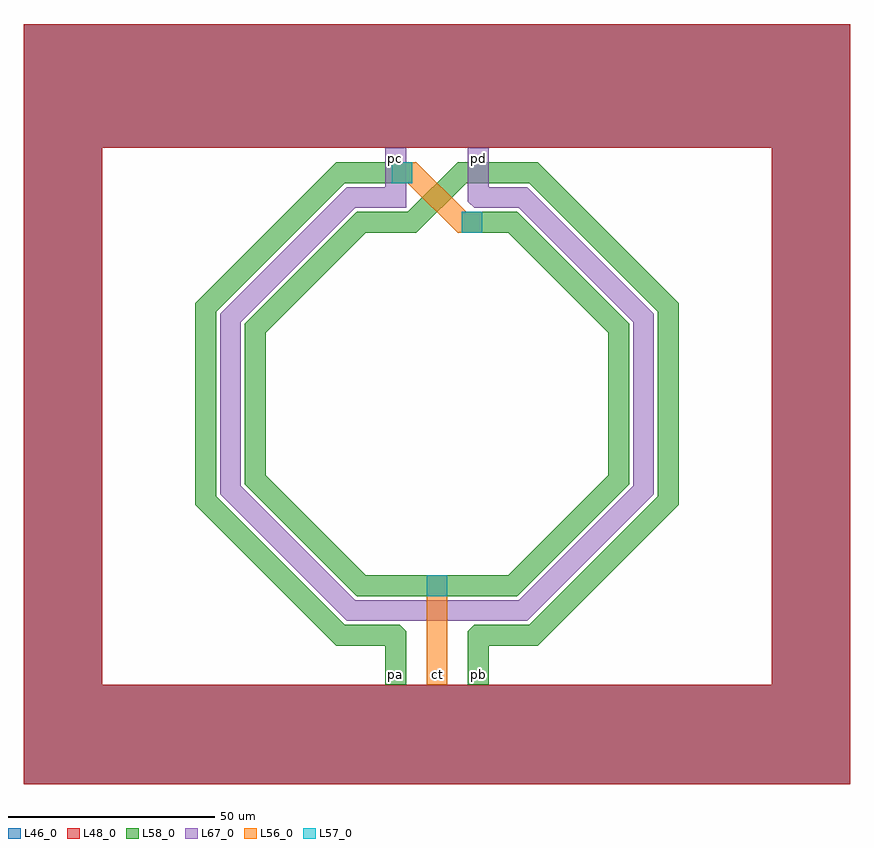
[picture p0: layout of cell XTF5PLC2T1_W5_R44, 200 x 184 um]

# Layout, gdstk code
import gdstk
lib = gdstk.Library(unit=1e-6, precision=1e-09)
def R(c, l, rs):  # rectangles x0, y0, x1, y1
    for r in rs: c.add(gdstk.rectangle(r[:2], r[2:], *l))
def P(c, l, *ps):  # polygons
    for p in ps: c.add(gdstk.Polygon(p, *l))
L46_0 = (46, 0)
L48_0 = (48, 0)
L56_0 = (56, 0)
L57_0 = (57, 0)
L58_0 = (58, 0)
L67_0 = (67, 0)

xtf5plc2t1_w5_r44 = lib.new_cell('XTF5PLC2T1_W5_R44')
P(xtf5plc2t1_w5_r44, L46_0, [(100,-92),(-100,-92),(-100,92),(81,92),(81,62),(-81,62),(-81,-68),(81,-68),(81,92),(100,92)])
P(xtf5plc2t1_w5_r44, L48_0, [(100,-92),(-100,-92),(-100,92),(81,92),(81,62),(-81,62),(-81,-68),(81,-68),(81,92),(100,92)])
R(xtf5plc2t1_w5_r44, L56_0, [(-2.5,-68,2.5,-41.5), (-2.5,-68,2.5,-63)])
P(xtf5plc2t1_w5_r44, L56_0, [(11,41.5),(4.965,41.5),(-7.035,53.5),(-11,53.5),(-11,58.5),(-4.965,58.5),(7.035,46.5),(11,46.5)])
R(xtf5plc2t1_w5_r44, L57_0, [(-2.5,-46.5,2.5,-41.5), (6,41.5,11,46.5), (-11,53.5,-6,58.5)])
R(xtf5plc2t1_w5_r44, L58_0, [(-12.5,-68,-7.5,-63), (7.5,-68,12.5,-63)])
P(xtf5plc2t1_w5_r44, L58_0, [(-6,53.5),(-22.305,53.5),(-53.5,22.305),(-53.5,-22.305),(-22.305,-53.5),(-8.965,-53.5),(-7.5,-54.965),(-7.5,-68),(-12.5,-68),(-12.5,-58.5),(-24.375,-58.5),(-58.5,-24.375),(-58.5,24.375),(-24.375,58.5),(-6,58.5)],
  [(58.5,-24.375),(24.375,-58.5),(12.5,-58.5),(12.5,-68),(7.5,-68),(7.5,-54.965),(8.965,-53.5),(22.305,-53.5),(53.5,-22.305),(53.5,22.305),(22.305,53.5),(7.035,53.5),(-4.965,41.5),(-17.305,41.5),(-41.5,17.305),(-41.5,-17.305),(-17.305,-41.5),(17.305,-41.5),(41.5,-17.305),(41.5,17.305),(17.305,41.5),(6,41.5),(6,46.5),(19.375,46.5),(46.5,19.375),(46.5,-19.375),(19.375,-46.5),(-19.375,-46.5),(-46.5,-19.375),(-46.5,19.375),(-19.375,46.5),(-7.035,46.5),(4.965,58.5),(24.375,58.5),(58.5,24.375)])
R(xtf5plc2t1_w5_r44, L67_0, [(-12.5,57,-7.5,62), (7.5,57,12.5,62)])
P(xtf5plc2t1_w5_r44, L67_0, [(52.5,-21.875),(21.875,-52.5),(-21.875,-52.5),(-52.5,-21.875),(-52.5,21.875),(-21.875,52.5),(-12.5,52.5),(-12.5,62),(-7.5,62),(-7.5,47.5),(-19.805,47.5),(-47.5,19.805),(-47.5,-19.805),(-19.805,-47.5),(19.805,-47.5),(47.5,-19.805),(47.5,19.805),(19.805,47.5),(8.965,47.5),(7.5,48.965),(7.5,62),(12.5,62),(12.5,52.5),(21.875,52.5),(52.5,21.875)])
xtf5plc2t1_w5_r44.add(gdstk.Label('pb', (10,-65.5), layer=58, texttype=0))
xtf5plc2t1_w5_r44.add(gdstk.Label('pa', (-10,-65.5), layer=58, texttype=0))
xtf5plc2t1_w5_r44.add(gdstk.Label('pd', (10,59.5), layer=67, texttype=0))
xtf5plc2t1_w5_r44.add(gdstk.Label('pc', (-10,59.5), layer=67, texttype=0))
xtf5plc2t1_w5_r44.add(gdstk.Label('ct', (0,-65.5), layer=56, texttype=0))

lib.write_gds('XTF5PLC2T1_W5_R44.gds')
